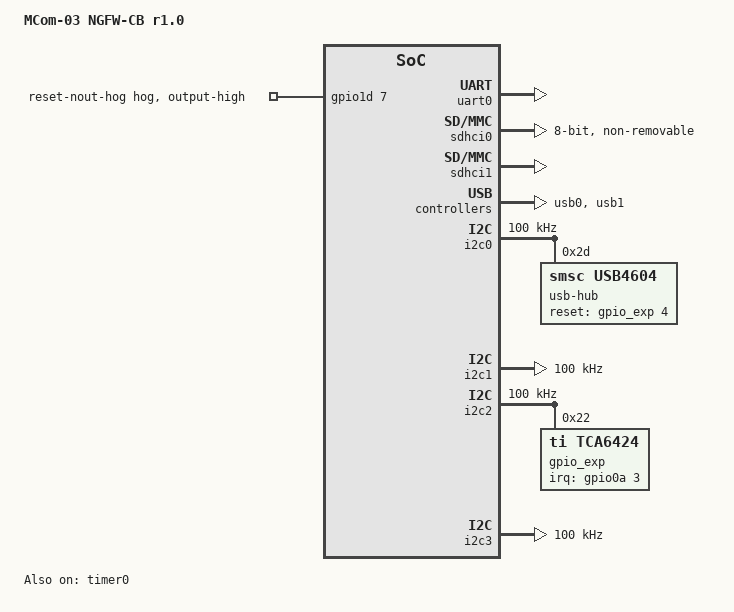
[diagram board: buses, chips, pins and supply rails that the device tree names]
// SPDX-License-Identifier: GPL-2.0+
/*
 * Copyright 2021 RnD Center "ELVEES", JSC
 */

/dts-v1/;

#include <dt-bindings/gpio/gpio.h>

#include "mcom03.dtsi"

/ {	model = "MCom-03 NGFW-CB r1.0";
	compatible = "elvees,mcom03-ngfw-cb-r1.0";

	aliases {
		serial0 = &uart0;
	};

	cpu_clk: cpu_clk {
		#clock-cells = <0>;
		compatible = "fixed-clock";
		clock-frequency = <1400000000>;
	};

	common_clk: common_clk {
		#clock-cells = <0>;
		compatible = "fixed-clock";
		clock-frequency = <27000000>;
	};

	sdmmc_clk: sdmmc_clk {
		#clock-cells = <0>;
		compatible = "fixed-clock";
		clock-frequency = <125000000>;
	};

	usb_suspend_clk: usb_suspend_clk {
		#clock-cells = <0>;
		compatible = "fixed-clock";
		clock-frequency = <25000000>;
	};

	usb_bus_clk: usb_bus_clk {
		#clock-cells = <0>;
		compatible = "fixed-clock";
		clock-frequency = <125000000>;
	};

	i2c0_clk: i2c0_clk {
		#clock-cells = <0>;
		compatible = "fixed-clock";
		clock-frequency = <94500000>;
	};

	i2c_clk: i2c_clk {
		#clock-cells = <0>;
		compatible = "fixed-clock";
		clock-frequency = <102375000>;
	};

	chosen {
		stdout-path = "serial0:115200n8";
		bootargs = "earlycon console=ttyS0,115200";
	};

	reserved_memory: reserved-memory {
		#address-cells = <2>;
		#size-cells = <2>;
		ranges;

		cpu_reserved: cpu_reserved@C0000000 {
			reg = <0 0xC0080000 0 0x1000>;
			no-map;
		};
	};
};

&uart0 {
	status = "okay";
	clock-frequency = <27000000>;
};

&sdhci0 {
	status = "okay";
	clocks = <&sdmmc_clk>, <&sdmmc_clk>;

	/* Unstable at 25 MHz on NGFW CB */
	max-frequency = <12000000>;
	non-removable;
	bus-width = <8>;
};

&sdhci1 {
	status = "okay";
	clocks = <&sdmmc_clk>, <&sdmmc_clk>;

	/* Unstable at 25 MHz on NGFW CB */
	max-frequency = <12000000>;

	/* Disable High Speed support
	 * Disable 1.8V support
	 * Disable SDR50, SDR104 and DDR50 support
	 */
	sdhci-caps-mask = <0x7 0x4200000>;
	sdhci-caps = <0x0 0x0>;
};

&timer0 {
	clocks = <&common_clk>;
	status = "okay";
};

&usb0 {
	status = "okay";
	clocks = <&usb_bus_clk>, <&usb_suspend_clk>, <&usb_suspend_clk>;
	clock-names = "bus_early", "ref", "suspend";
};

&usb1 {
	status = "okay";
	clocks = <&usb_bus_clk>, <&usb_suspend_clk>, <&usb_suspend_clk>;
	clock-names = "bus_early", "ref", "suspend";
};

&gpio1d {
	/* RESET_nOUT signal should be high for LAN, WAN, PEX, USB HUB) */
	reset-nout-hog {
		gpio-hog;
		gpios = <7 GPIO_ACTIVE_HIGH>;
		output-high;
	};
};

&i2c0 {
	clocks = <&i2c0_clk>;

	/* USB HUB USB5807 supports only 100kHz */
	clock-frequency = <100000>;
	status = "okay";

	usb-hub@2d {
		/* USB HUB USB5807 is supported by driver usb4604 */
		compatible = "smsc,usb4604";
		reg = <0x2d>;
		reset-gpios = <&gpio_exp 4 GPIO_ACTIVE_HIGH>;
		initial-mode = <1>;
	};
};

&i2c1 {
	clocks = <&i2c_clk>;

	/* Not all devices are checked to 400kHz support */
	clock-frequency = <100000>;
	status = "okay";
};

&i2c2 {
	clocks = <&i2c_clk>;

	/* Not all devices are checked to 400kHz support */
	clock-frequency = <100000>;
	status = "okay";

	gpio_exp: gpio-expander@22 {
		compatible = "ti,tca6424";
		reg = <0x22>;
		gpio-controller;
		#gpio-cells = <2>;
		interrupts-extended = <&gpio0a 3 IRQ_TYPE_EDGE_FALLING>;
		interrupt-controller;
		#interrupt-cells = <2>;
		gpio-line-names =
			"WAN_nRST", "LAN_nRST", "WAN_nPERST", "LAN_nPERST",
			"USB_HUB_nRST", "PEX_THRM_ALERT", "PE_X4_nRST",
			"PE_X4_nPRSNT", "WIFI_nPERST", "WIFI_nDISABLE_1",
			"WIFI_nDISABLE_2", "mPCIE_PERST", "mPCIE_WDISABLE",
			"5G_RESET", "5G_nPOWER_OFF", "5G_nPERSTR",
			"5G_nW_DISABLE1", "5G_nW_DISABLE1", "EN_3V3_WIFI",
			"EN_3V3_mPCIe", "EN_3V8_5G", "EN_3V3_SATA", "EN_5V_USB",
			"USER_LED";
		usb-hub-hog {
			gpio-hog;
			gpios = <22 GPIO_ACTIVE_HIGH>;
			output-high;
		};
		wan-hog {
			gpio-hog;
			gpios = <0 GPIO_ACTIVE_HIGH>, <2 GPIO_ACTIVE_HIGH>;
			output-high;
		};
		lan-hog {
			gpio-hog;
			gpios = <1 GPIO_ACTIVE_HIGH>, <3 GPIO_ACTIVE_HIGH>;
			output-high;
		};
		pe-x4-hog {
			gpio-hog;
			gpios = <6 GPIO_ACTIVE_HIGH>;
			output-high;
		};
		wifi-hog {
			gpio-hog;
			gpios = <8 GPIO_ACTIVE_HIGH>, <9 GPIO_ACTIVE_HIGH>,
				<10 GPIO_ACTIVE_HIGH>, <18 GPIO_ACTIVE_HIGH>;
			output-high;
		};
		mpcie-hog {
			gpio-hog;
			gpios = <11 GPIO_ACTIVE_HIGH>, <12 GPIO_ACTIVE_HIGH>,
				<19 GPIO_ACTIVE_HIGH>;
			output-high;
		};
		5g-hog {
			gpio-hog;
			gpios = <13 GPIO_ACTIVE_LOW>, <14 GPIO_ACTIVE_HIGH>,
				<15 GPIO_ACTIVE_HIGH>, <16 GPIO_ACTIVE_HIGH>,
				<17 GPIO_ACTIVE_HIGH>, <20 GPIO_ACTIVE_HIGH>;
			output-high;
		};
	};
};

&i2c3 {
	clocks = <&i2c_clk>;

	/* Not all devices are checked to 400kHz support */
	clock-frequency = <100000>;
	status = "okay";
};
